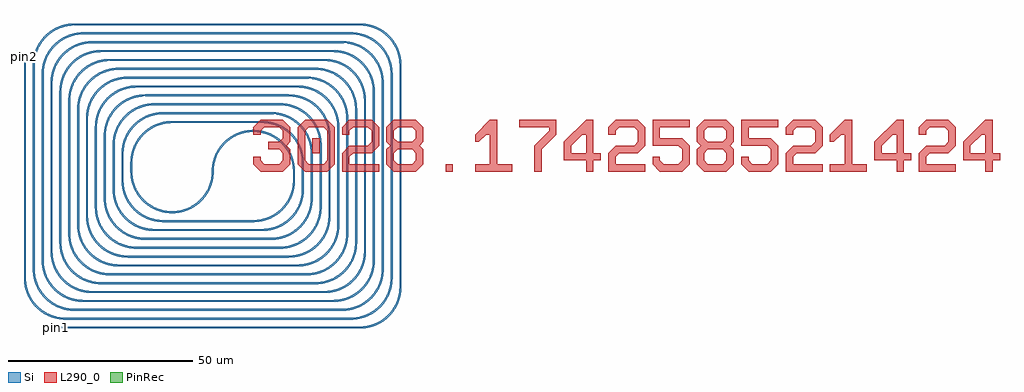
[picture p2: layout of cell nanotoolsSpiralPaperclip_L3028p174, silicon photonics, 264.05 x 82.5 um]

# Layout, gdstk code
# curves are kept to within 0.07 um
import gdstk
lib = gdstk.Library(unit=1e-6, precision=1e-09)
def R(c, l, rs):  # rectangles x0, y0, x1, y1
    for r in rs: c.add(gdstk.rectangle(r[:2], r[2:], *l))
def P(c, l, *ps):  # polygons
    for p in ps: c.add(gdstk.Polygon(p, *l))
Si = (1, 0)
PinRec = (1, 10)
L290_0 = (290, 0)

nanotoolsspiralpaperclip = lib.new_cell('nanotoolsSpiralPaperclip_L3028p174')
R(nanotoolsspiralpaperclip, Si, [(-53.2,-42.45,28.8,-41.95), (-50.8,-40.05,26.4,-39.55), (-48.4,-37.65,24,-37.15), (-46,-35.25,21.6,-34.75), (-43.6,-32.85,19.2,-32.35), (39.55,-31.2,40.05,28.8), (-41.2,-30.45,16.8,-29.95), (-62.05,-28.8,-61.55,31.2), (37.15,-28.8,37.65,26.4), (-38.8,-28.05,14.4,-27.55), (-59.65,-26.4,-59.15,28.8), (34.75,-26.4,35.25,24), (-36.4,-25.65,12,-25.15), (-57.25,-24,-56.75,26.4), (32.35,-24,32.85,21.6), (-34,-23.25,9.6,-22.75), (-54.85,-21.6,-54.35,24), (29.95,-21.6,30.45,19.2), (-31.6,-20.85,7.2,-20.35), (-52.45,-19.2,-51.95,21.6), (27.55,-19.2,28.05,16.8), (-29.2,-18.45,4.8,-17.95), (-50.05,-16.8,-49.55,19.2), (25.15,-16.8,25.65,14.4), (-26.8,-16.05,2.4,-15.55), (-47.65,-14.4,-47.15,16.8), (22.75,-14.4,23.25,12), (-24.4,-13.65,0,-13.15), (-45.25,-12,-44.75,14.4), (20.35,-12,20.85,9.6), (-42.85,-9.6,-42.35,12), (17.95,-9.6,18.45,7.2), (-40.45,-7.2,-39.95,9.6), (15.55,-7.2,16.05,4.8), (-38.05,-4.8,-37.55,7.2), (13.15,-4.8,13.65,2.4), (-35.65,-2.4,-35.15,4.8), (10.75,-2.4,11.25,0), (-33.25,0,-32.75,2.4), (-22,13.15,2.4,13.65), (-24.4,15.55,4.8,16.05), (-26.8,17.95,7.2,18.45), (-29.2,20.35,9.6,20.85), (-31.6,22.75,12,23.25), (-34,25.15,14.4,25.65), (-36.4,27.55,16.8,28.05), (-38.8,29.95,19.2,30.45), (-41.2,32.35,21.6,32.85), (-43.6,34.75,24,35.25), (-46,37.15,26.4,37.65), (-48.4,39.55,28.8,40.05)])
P(nanotoolsspiralpaperclip, Si, [(-11.25,0),(-11.197,1.094),(-11.037,2.178),(-10.773,3.241),(-10.407,4.274),(-9.942,5.265),(-9.382,6.207),(-8.734,7.09),(-8.003,7.906),(-7.196,8.647),(-6.321,9.306),(-5.386,9.877),(-4.274,10.407),(-3.241,10.773),(-2.178,11.037),(-1.094,11.197),(0,11.25),(0,10.75),(-1.176,10.686),(-2.337,10.493),(-3.471,10.174),(-4.563,9.734),(-6.148,8.818),(-7.555,7.648),(-8.743,6.255),(-9.62,4.799),(-10.087,3.718),(-10.464,2.465),(-10.686,1.176),(-10.75,0)],
  [(-22,-11.25),(-22,-10.75),(-20.824,-10.686),(-19.663,-10.493),(-18.529,-10.174),(-17.437,-9.734),(-15.852,-8.818),(-14.445,-7.648),(-13.257,-6.255),(-12.38,-4.799),(-11.913,-3.718),(-11.536,-2.465),(-11.314,-1.176),(-11.25,0),(-10.75,0),(-10.803,-1.094),(-10.963,-2.178),(-11.227,-3.241),(-11.593,-4.274),(-12.058,-5.265),(-12.618,-6.207),(-13.266,-7.09),(-13.997,-7.906),(-14.804,-8.647),(-15.679,-9.306),(-16.614,-9.877),(-17.726,-10.407),(-18.759,-10.773),(-19.822,-11.037),(-20.906,-11.197)],
  [(-22,-11.25),(-23.094,-11.197),(-24.178,-11.037),(-25.241,-10.773),(-26.274,-10.407),(-27.265,-9.942),(-28.207,-9.382),(-29.09,-8.734),(-29.906,-8.003),(-30.647,-7.196),(-31.306,-6.321),(-31.877,-5.386),(-32.407,-4.274),(-32.773,-3.241),(-33.037,-2.178),(-33.197,-1.094),(-33.25,0),(-32.75,0),(-32.686,-1.176),(-32.493,-2.337),(-32.174,-3.471),(-31.734,-4.563),(-30.818,-6.148),(-29.648,-7.555),(-28.255,-8.743),(-26.799,-9.62),(-25.718,-10.087),(-24.465,-10.464),(-23.176,-10.686),(-22,-10.75)],
  [(39.55,28.8),(39.499,29.846),(39.347,30.881),(38.793,32.762),(38.42,33.599),(37.837,34.622),(36.629,36.167),(35.266,37.388),(33.599,38.42),(32.518,38.887),(31.265,39.264),(29.976,39.486),(28.8,39.55),(28.8,40.05),(30.03,39.983),(31.112,39.81),(32.172,39.533),(33.2,39.154),(34.306,38.611),(35.234,38.029),(36.101,37.359),(36.899,36.608),(37.704,35.676),(38.403,34.661),(38.986,33.575),(39.447,32.432),(39.887,30.709),(40.047,29.074),(40.05,28.8)],
  [(10.75,0),(10.699,1.046),(10.547,2.081),(9.993,3.962),(9.62,4.799),(9.037,5.822),(7.829,7.367),(6.466,8.588),(4.799,9.62),(3.718,10.087),(2.465,10.464),(1.176,10.686),(0,10.75),(0,11.25),(1.23,11.183),(2.312,11.01),(3.372,10.733),(4.4,10.354),(5.506,9.811),(6.434,9.229),(7.301,8.559),(8.099,7.808),(8.904,6.876),(9.603,5.861),(10.186,4.775),(10.647,3.632),(11.087,1.909),(11.247,0.274),(11.25,0)],
  [(13.15,2.4),(13.099,3.446),(12.947,4.481),(12.393,6.362),(12.02,7.199),(11.437,8.222),(10.229,9.767),(8.866,10.988),(7.199,12.02),(6.118,12.487),(4.865,12.864),(3.576,13.086),(2.4,13.15),(2.4,13.65),(3.63,13.583),(4.712,13.41),(5.772,13.133),(6.8,12.754),(7.906,12.211),(8.834,11.629),(9.701,10.959),(10.499,10.208),(11.304,9.276),(12.003,8.261),(12.586,7.175),(13.047,6.032),(13.487,4.309),(13.647,2.674),(13.65,2.4)],
  [(15.55,4.8),(15.499,5.846),(15.347,6.881),(14.793,8.762),(14.42,9.599),(13.837,10.622),(12.629,12.167),(11.266,13.388),(9.599,14.42),(8.518,14.887),(7.265,15.264),(5.976,15.486),(4.8,15.55),(4.8,16.05),(6.03,15.983),(7.112,15.81),(8.172,15.533),(9.2,15.154),(10.306,14.611),(11.234,14.029),(12.101,13.359),(12.899,12.608),(13.704,11.676),(14.403,10.661),(14.986,9.575),(15.447,8.432),(15.887,6.709),(16.047,5.074),(16.05,4.8)],
  [(17.95,7.2),(17.899,8.246),(17.747,9.281),(17.193,11.162),(16.82,11.999),(16.237,13.022),(15.029,14.567),(13.666,15.788),(11.999,16.82),(10.918,17.287),(9.665,17.664),(8.376,17.886),(7.2,17.95),(7.2,18.45),(8.43,18.383),(9.512,18.21),(10.572,17.933),(11.6,17.554),(12.706,17.011),(13.634,16.429),(14.501,15.759),(15.299,15.008),(16.104,14.076),(16.803,13.061),(17.386,11.975),(17.847,10.832),(18.287,9.109),(18.447,7.474),(18.45,7.2)],
  [(20.35,9.6),(20.299,10.646),(20.147,11.681),(19.593,13.562),(19.22,14.399),(18.637,15.422),(17.429,16.967),(16.066,18.188),(14.399,19.22),(13.318,19.687),(12.065,20.064),(10.776,20.286),(9.6,20.35),(9.6,20.85),(10.83,20.783),(11.912,20.61),(12.972,20.333),(14,19.954),(15.106,19.411),(16.034,18.829),(16.901,18.159),(17.699,17.408),(18.504,16.476),(19.203,15.461),(19.786,14.375),(20.247,13.232),(20.687,11.509),(20.847,9.874),(20.85,9.6)],
  [(22.75,12),(22.699,13.046),(22.547,14.081),(21.993,15.962),(21.62,16.799),(21.037,17.822),(19.829,19.367),(18.466,20.588),(16.799,21.62),(15.718,22.087),(14.465,22.464),(13.176,22.686),(12,22.75),(12,23.25),(13.23,23.183),(14.312,23.01),(15.372,22.733),(16.4,22.354),(17.506,21.811),(18.434,21.229),(19.301,20.559),(20.099,19.808),(20.904,18.876),(21.603,17.861),(22.186,16.775),(22.647,15.632),(23.087,13.909),(23.247,12.274),(23.25,12)],
  [(25.15,14.4),(25.099,15.446),(24.947,16.481),(24.393,18.362),(24.02,19.199),(23.437,20.222),(22.229,21.767),(20.866,22.988),(19.199,24.02),(18.118,24.487),(16.865,24.864),(15.576,25.086),(14.4,25.15),(14.4,25.65),(15.63,25.583),(16.712,25.41),(17.772,25.133),(18.8,24.754),(19.906,24.211),(20.834,23.629),(21.701,22.959),(22.499,22.208),(23.304,21.276),(24.003,20.261),(24.586,19.175),(25.047,18.032),(25.487,16.309),(25.647,14.674),(25.65,14.4)],
  [(27.55,16.8),(27.499,17.846),(27.347,18.881),(26.793,20.762),(26.42,21.599),(25.837,22.622),(24.629,24.167),(23.266,25.388),(21.599,26.42),(20.518,26.887),(19.265,27.264),(17.976,27.486),(16.8,27.55),(16.8,28.05),(18.03,27.983),(19.112,27.81),(20.172,27.533),(21.2,27.154),(22.306,26.611),(23.234,26.029),(24.101,25.359),(24.899,24.608),(25.704,23.676),(26.403,22.661),(26.986,21.575),(27.447,20.432),(27.887,18.709),(28.047,17.074),(28.05,16.8)],
  [(29.95,19.2),(29.899,20.246),(29.747,21.281),(29.193,23.162),(28.82,23.999),(28.237,25.022),(27.029,26.567),(25.666,27.788),(23.999,28.82),(22.918,29.287),(21.665,29.664),(20.376,29.886),(19.2,29.95),(19.2,30.45),(20.43,30.383),(21.512,30.21),(22.572,29.933),(23.6,29.554),(24.706,29.011),(25.634,28.429),(26.501,27.759),(27.299,27.008),(28.104,26.076),(28.803,25.061),(29.386,23.975),(29.847,22.832),(30.287,21.109),(30.447,19.474),(30.45,19.2)],
  [(32.35,21.6),(32.299,22.646),(32.147,23.681),(31.593,25.562),(31.22,26.399),(30.637,27.422),(29.429,28.967),(28.066,30.188),(26.399,31.22),(25.318,31.687),(24.065,32.064),(22.776,32.286),(21.6,32.35),(21.6,32.85),(22.83,32.783),(23.912,32.61),(24.972,32.333),(26,31.954),(27.106,31.411),(28.034,30.829),(28.901,30.159),(29.699,29.408),(30.504,28.476),(31.203,27.461),(31.786,26.375),(32.247,25.232),(32.687,23.509),(32.847,21.874),(32.85,21.6)],
  [(34.75,24),(34.699,25.046),(34.547,26.081),(33.993,27.962),(33.62,28.799),(33.037,29.822),(31.829,31.367),(30.466,32.588),(28.799,33.62),(27.718,34.087),(26.465,34.464),(25.176,34.686),(24,34.75),(24,35.25),(25.23,35.183),(26.312,35.01),(27.372,34.733),(28.4,34.354),(29.506,33.811),(30.434,33.229),(31.301,32.559),(32.099,31.808),(32.904,30.876),(33.603,29.861),(34.186,28.775),(34.647,27.632),(35.087,25.909),(35.247,24.274),(35.25,24)],
  [(37.15,26.4),(37.099,27.446),(36.947,28.481),(36.393,30.362),(36.02,31.199),(35.437,32.222),(34.229,33.767),(32.866,34.988),(31.199,36.02),(30.118,36.487),(28.865,36.864),(27.576,37.086),(26.4,37.15),(26.4,37.65),(27.63,37.583),(28.712,37.41),(29.772,37.133),(30.8,36.754),(31.906,36.211),(32.834,35.629),(33.701,34.959),(34.499,34.208),(35.304,33.276),(36.003,32.261),(36.586,31.175),(37.047,30.032),(37.487,28.309),(37.647,26.674),(37.65,26.4)],
  [(-35.65,4.8),(-35.597,5.894),(-35.437,6.978),(-35.173,8.041),(-34.807,9.074),(-34.342,10.065),(-33.782,11.007),(-33.134,11.89),(-32.403,12.706),(-31.596,13.447),(-30.721,14.106),(-29.786,14.677),(-28.674,15.207),(-27.641,15.573),(-26.578,15.837),(-25.494,15.997),(-24.4,16.05),(-24.4,15.55),(-25.576,15.486),(-26.737,15.293),(-27.871,14.974),(-28.963,14.534),(-30.548,13.618),(-31.955,12.448),(-33.143,11.055),(-34.02,9.599),(-34.487,8.518),(-34.864,7.265),(-35.086,5.976),(-35.15,4.8)],
  [(-38.05,7.2),(-37.997,8.294),(-37.837,9.378),(-37.573,10.441),(-37.207,11.474),(-36.742,12.465),(-36.182,13.407),(-35.534,14.29),(-34.803,15.106),(-33.996,15.847),(-33.121,16.506),(-32.186,17.077),(-31.074,17.607),(-30.041,17.973),(-28.978,18.237),(-27.894,18.397),(-26.8,18.45),(-26.8,17.95),(-27.976,17.886),(-29.137,17.693),(-30.271,17.374),(-31.363,16.934),(-32.948,16.018),(-34.355,14.848),(-35.543,13.455),(-36.42,11.999),(-36.887,10.918),(-37.264,9.665),(-37.486,8.376),(-37.55,7.2)],
  [(-40.45,9.6),(-40.397,10.694),(-40.237,11.778),(-39.973,12.841),(-39.607,13.874),(-39.142,14.865),(-38.582,15.807),(-37.934,16.69),(-37.203,17.506),(-36.396,18.247),(-35.521,18.906),(-34.586,19.477),(-33.474,20.007),(-32.441,20.373),(-31.378,20.637),(-30.294,20.797),(-29.2,20.85),(-29.2,20.35),(-30.376,20.286),(-31.537,20.093),(-32.671,19.774),(-33.763,19.334),(-35.348,18.418),(-36.755,17.248),(-37.943,15.855),(-38.82,14.399),(-39.287,13.318),(-39.664,12.065),(-39.886,10.776),(-39.95,9.6)],
  [(-42.85,12),(-42.797,13.094),(-42.637,14.178),(-42.373,15.241),(-42.007,16.274),(-41.542,17.265),(-40.982,18.207),(-40.334,19.09),(-39.603,19.906),(-38.796,20.647),(-37.921,21.306),(-36.986,21.877),(-35.874,22.407),(-34.841,22.773),(-33.778,23.037),(-32.694,23.197),(-31.6,23.25),(-31.6,22.75),(-32.776,22.686),(-33.937,22.493),(-35.071,22.174),(-36.163,21.734),(-37.748,20.818),(-39.155,19.648),(-40.343,18.255),(-41.22,16.799),(-41.687,15.718),(-42.064,14.465),(-42.286,13.176),(-42.35,12)],
  [(-45.25,14.4),(-45.197,15.494),(-45.037,16.578),(-44.773,17.641),(-44.407,18.674),(-43.942,19.665),(-43.382,20.607),(-42.734,21.49),(-42.003,22.306),(-41.196,23.047),(-40.321,23.706),(-39.386,24.277),(-38.274,24.807),(-37.241,25.173),(-36.178,25.437),(-35.094,25.597),(-34,25.65),(-34,25.15),(-35.176,25.086),(-36.337,24.893),(-37.471,24.574),(-38.563,24.134),(-40.148,23.218),(-41.555,22.048),(-42.743,20.655),(-43.62,19.199),(-44.087,18.118),(-44.464,16.865),(-44.686,15.576),(-44.75,14.4)],
  [(-47.65,16.8),(-47.597,17.894),(-47.437,18.978),(-47.173,20.041),(-46.807,21.074),(-46.342,22.065),(-45.782,23.007),(-45.134,23.89),(-44.403,24.706),(-43.596,25.447),(-42.721,26.106),(-41.786,26.677),(-40.674,27.207),(-39.641,27.573),(-38.578,27.837),(-37.494,27.997),(-36.4,28.05),(-36.4,27.55),(-37.576,27.486),(-38.737,27.293),(-39.871,26.974),(-40.963,26.534),(-42.548,25.618),(-43.955,24.448),(-45.143,23.055),(-46.02,21.599),(-46.487,20.518),(-46.864,19.265),(-47.086,17.976),(-47.15,16.8)],
  [(-50.05,19.2),(-49.997,20.294),(-49.837,21.378),(-49.573,22.441),(-49.207,23.474),(-48.742,24.465),(-48.182,25.407),(-47.534,26.29),(-46.803,27.106),(-45.996,27.847),(-45.121,28.506),(-44.186,29.077),(-43.074,29.607),(-42.041,29.973),(-40.978,30.237),(-39.894,30.397),(-38.8,30.45),(-38.8,29.95),(-39.976,29.886),(-41.137,29.693),(-42.271,29.374),(-43.363,28.934),(-44.948,28.018),(-46.355,26.848),(-47.543,25.455),(-48.42,23.999),(-48.887,22.918),(-49.264,21.665),(-49.486,20.376),(-49.55,19.2)],
  [(-52.45,21.6),(-52.397,22.694),(-52.237,23.778),(-51.973,24.841),(-51.607,25.874),(-51.142,26.865),(-50.582,27.807),(-49.934,28.69),(-49.203,29.506),(-48.396,30.247),(-47.521,30.906),(-46.586,31.477),(-45.474,32.007),(-44.441,32.373),(-43.378,32.637),(-42.294,32.797),(-41.2,32.85),(-41.2,32.35),(-42.376,32.286),(-43.537,32.093),(-44.671,31.774),(-45.763,31.334),(-47.348,30.418),(-48.755,29.248),(-49.943,27.855),(-50.82,26.399),(-51.287,25.318),(-51.664,24.065),(-51.886,22.776),(-51.95,21.6)],
  [(-54.85,24),(-54.797,25.094),(-54.637,26.178),(-54.373,27.241),(-54.007,28.274),(-53.542,29.265),(-52.982,30.207),(-52.334,31.09),(-51.603,31.906),(-50.796,32.647),(-49.921,33.306),(-48.986,33.877),(-47.874,34.407),(-46.841,34.773),(-45.778,35.037),(-44.694,35.197),(-43.6,35.25),(-43.6,34.75),(-44.776,34.686),(-45.937,34.493),(-47.071,34.174),(-48.163,33.734),(-49.748,32.818),(-51.155,31.648),(-52.343,30.255),(-53.22,28.799),(-53.687,27.718),(-54.064,26.465),(-54.286,25.176),(-54.35,24)],
  [(-57.25,26.4),(-57.197,27.494),(-57.037,28.578),(-56.773,29.641),(-56.407,30.674),(-55.942,31.665),(-55.382,32.607),(-54.734,33.49),(-54.003,34.306),(-53.196,35.047),(-52.321,35.706),(-51.386,36.277),(-50.274,36.807),(-49.241,37.173),(-48.178,37.437),(-47.094,37.597),(-46,37.65),(-46,37.15),(-47.176,37.086),(-48.337,36.893),(-49.471,36.574),(-50.563,36.134),(-52.148,35.218),(-53.555,34.048),(-54.743,32.655),(-55.62,31.199),(-56.087,30.118),(-56.464,28.865),(-56.686,27.576),(-56.75,26.4)],
  [(-59.65,28.8),(-59.597,29.894),(-59.437,30.978),(-59.173,32.041),(-58.807,33.074),(-58.342,34.065),(-57.782,35.007),(-57.134,35.89),(-56.403,36.706),(-55.596,37.447),(-54.721,38.106),(-53.786,38.677),(-52.674,39.207),(-51.641,39.573),(-50.578,39.837),(-49.494,39.997),(-48.4,40.05),(-48.4,39.55),(-49.576,39.486),(-50.737,39.293),(-51.871,38.974),(-52.963,38.534),(-54.548,37.618),(-55.955,36.448),(-57.143,35.055),(-58.02,33.599),(-58.487,32.518),(-58.864,31.265),(-59.086,29.976),(-59.15,28.8)],
  [(-33.25,2.4),(-33.197,3.494),(-33.037,4.578),(-32.773,5.641),(-32.407,6.674),(-31.942,7.665),(-31.382,8.607),(-30.734,9.49),(-30.003,10.306),(-29.196,11.047),(-28.321,11.706),(-27.386,12.277),(-26.274,12.807),(-25.241,13.173),(-24.178,13.437),(-23.094,13.597),(-22,13.65),(-22,13.15),(-23.176,13.086),(-24.337,12.893),(-25.471,12.574),(-26.563,12.134),(-28.148,11.218),(-29.555,10.048),(-30.743,8.655),(-31.62,7.199),(-32.087,6.118),(-32.464,4.865),(-32.686,3.576),(-32.75,2.4)],
  [(-31.6,-20.85),(-32.694,-20.797),(-33.778,-20.637),(-34.841,-20.373),(-35.874,-20.007),(-36.865,-19.542),(-37.807,-18.982),(-38.69,-18.334),(-39.506,-17.603),(-40.247,-16.796),(-40.906,-15.921),(-41.477,-14.986),(-42.007,-13.874),(-42.373,-12.841),(-42.637,-11.778),(-42.797,-10.694),(-42.85,-9.6),(-42.35,-9.6),(-42.286,-10.776),(-42.093,-11.937),(-41.774,-13.071),(-41.334,-14.163),(-40.418,-15.748),(-39.248,-17.155),(-37.855,-18.343),(-36.399,-19.22),(-35.318,-19.687),(-34.065,-20.064),(-32.776,-20.286),(-31.6,-20.35)],
  [(-34,-23.25),(-35.094,-23.197),(-36.178,-23.037),(-37.241,-22.773),(-38.274,-22.407),(-39.265,-21.942),(-40.207,-21.382),(-41.09,-20.734),(-41.906,-20.003),(-42.647,-19.196),(-43.306,-18.321),(-43.877,-17.386),(-44.407,-16.274),(-44.773,-15.241),(-45.037,-14.178),(-45.197,-13.094),(-45.25,-12),(-44.75,-12),(-44.686,-13.176),(-44.493,-14.337),(-44.174,-15.471),(-43.734,-16.563),(-42.818,-18.148),(-41.648,-19.555),(-40.255,-20.743),(-38.799,-21.62),(-37.718,-22.087),(-36.465,-22.464),(-35.176,-22.686),(-34,-22.75)],
  [(-36.4,-25.65),(-37.494,-25.597),(-38.578,-25.437),(-39.641,-25.173),(-40.674,-24.807),(-41.665,-24.342),(-42.607,-23.782),(-43.49,-23.134),(-44.306,-22.403),(-45.047,-21.596),(-45.706,-20.721),(-46.277,-19.786),(-46.807,-18.674),(-47.173,-17.641),(-47.437,-16.578),(-47.597,-15.494),(-47.65,-14.4),(-47.15,-14.4),(-47.086,-15.576),(-46.893,-16.737),(-46.574,-17.871),(-46.134,-18.963),(-45.218,-20.548),(-44.048,-21.955),(-42.655,-23.143),(-41.199,-24.02),(-40.118,-24.487),(-38.865,-24.864),(-37.576,-25.086),(-36.4,-25.15)],
  [(-38.8,-28.05),(-39.894,-27.997),(-40.978,-27.837),(-42.041,-27.573),(-43.074,-27.207),(-44.065,-26.742),(-45.007,-26.182),(-45.89,-25.534),(-46.706,-24.803),(-47.447,-23.996),(-48.106,-23.121),(-48.677,-22.186),(-49.207,-21.074),(-49.573,-20.041),(-49.837,-18.978),(-49.997,-17.894),(-50.05,-16.8),(-49.55,-16.8),(-49.486,-17.976),(-49.293,-19.137),(-48.974,-20.271),(-48.534,-21.363),(-47.618,-22.948),(-46.448,-24.355),(-45.055,-25.543),(-43.599,-26.42),(-42.518,-26.887),(-41.265,-27.264),(-39.976,-27.486),(-38.8,-27.55)],
  [(-41.2,-30.45),(-42.294,-30.397),(-43.378,-30.237),(-44.441,-29.973),(-45.474,-29.607),(-46.465,-29.142),(-47.407,-28.582),(-48.29,-27.934),(-49.106,-27.203),(-49.847,-26.396),(-50.506,-25.521),(-51.077,-24.586),(-51.607,-23.474),(-51.973,-22.441),(-52.237,-21.378),(-52.397,-20.294),(-52.45,-19.2),(-51.95,-19.2),(-51.886,-20.376),(-51.693,-21.537),(-51.374,-22.671),(-50.934,-23.763),(-50.018,-25.348),(-48.848,-26.755),(-47.455,-27.943),(-45.999,-28.82),(-44.918,-29.287),(-43.665,-29.664),(-42.376,-29.886),(-41.2,-29.95)],
  [(-43.6,-32.85),(-44.694,-32.797),(-45.778,-32.637),(-46.841,-32.373),(-47.874,-32.007),(-48.865,-31.542),(-49.807,-30.982),(-50.69,-30.334),(-51.506,-29.603),(-52.247,-28.796),(-52.906,-27.921),(-53.477,-26.986),(-54.007,-25.874),(-54.373,-24.841),(-54.637,-23.778),(-54.797,-22.694),(-54.85,-21.6),(-54.35,-21.6),(-54.286,-22.776),(-54.093,-23.937),(-53.774,-25.071),(-53.334,-26.163),(-52.418,-27.748),(-51.248,-29.155),(-49.855,-30.343),(-48.399,-31.22),(-47.318,-31.687),(-46.065,-32.064),(-44.776,-32.286),(-43.6,-32.35)],
  [(-46,-35.25),(-47.094,-35.197),(-48.178,-35.037),(-49.241,-34.773),(-50.274,-34.407),(-51.265,-33.942),(-52.207,-33.382),(-53.09,-32.734),(-53.906,-32.003),(-54.647,-31.196),(-55.306,-30.321),(-55.877,-29.386),(-56.407,-28.274),(-56.773,-27.241),(-57.037,-26.178),(-57.197,-25.094),(-57.25,-24),(-56.75,-24),(-56.686,-25.176),(-56.493,-26.337),(-56.174,-27.471),(-55.734,-28.563),(-54.818,-30.148),(-53.648,-31.555),(-52.255,-32.743),(-50.799,-33.62),(-49.718,-34.087),(-48.465,-34.464),(-47.176,-34.686),(-46,-34.75)],
  [(-48.4,-37.65),(-49.494,-37.597),(-50.578,-37.437),(-51.641,-37.173),(-52.674,-36.807),(-53.665,-36.342),(-54.607,-35.782),(-55.49,-35.134),(-56.306,-34.403),(-57.047,-33.596),(-57.706,-32.721),(-58.277,-31.786),(-58.807,-30.674),(-59.173,-29.641),(-59.437,-28.578),(-59.597,-27.494),(-59.65,-26.4),(-59.15,-26.4),(-59.086,-27.576),(-58.893,-28.737),(-58.574,-29.871),(-58.134,-30.963),(-57.218,-32.548),(-56.048,-33.955),(-54.655,-35.143),(-53.199,-36.02),(-52.118,-36.487),(-50.865,-36.864),(-49.576,-37.086),(-48.4,-37.15)],
  [(-50.8,-40.05),(-51.894,-39.997),(-52.978,-39.837),(-54.041,-39.573),(-55.074,-39.207),(-56.065,-38.742),(-57.007,-38.182),(-57.89,-37.534),(-58.706,-36.803),(-59.447,-35.996),(-60.106,-35.121),(-60.677,-34.186),(-61.207,-33.074),(-61.573,-32.041),(-61.837,-30.978),(-61.997,-29.894),(-62.05,-28.8),(-61.55,-28.8),(-61.486,-29.976),(-61.293,-31.137),(-60.974,-32.271),(-60.534,-33.363),(-59.618,-34.948),(-58.448,-36.355),(-57.055,-37.543),(-55.599,-38.42),(-54.518,-38.887),(-53.265,-39.264),(-51.976,-39.486),(-50.8,-39.55)],
  [(-24.4,-13.65),(-25.494,-13.597),(-26.578,-13.437),(-27.641,-13.173),(-28.674,-12.807),(-29.665,-12.342),(-30.607,-11.782),(-31.49,-11.134),(-32.306,-10.403),(-33.047,-9.596),(-33.706,-8.721),(-34.277,-7.786),(-34.807,-6.674),(-35.173,-5.641),(-35.437,-4.578),(-35.597,-3.494),(-35.65,-2.4),(-35.15,-2.4),(-35.086,-3.576),(-34.893,-4.737),(-34.574,-5.871),(-34.134,-6.963),(-33.218,-8.548),(-32.048,-9.955),(-30.655,-11.143),(-29.199,-12.02),(-28.118,-12.487),(-26.865,-12.864),(-25.576,-13.086),(-24.4,-13.15)],
  [(-26.8,-16.05),(-27.894,-15.997),(-28.978,-15.837),(-30.041,-15.573),(-31.074,-15.207),(-32.065,-14.742),(-33.007,-14.182),(-33.89,-13.534),(-34.706,-12.803),(-35.447,-11.996),(-36.106,-11.121),(-36.677,-10.186),(-37.207,-9.074),(-37.573,-8.041),(-37.837,-6.978),(-37.997,-5.894),(-38.05,-4.8),(-37.55,-4.8),(-37.486,-5.976),(-37.293,-7.137),(-36.974,-8.271),(-36.534,-9.363),(-35.618,-10.948),(-34.448,-12.355),(-33.055,-13.543),(-31.599,-14.42),(-30.518,-14.887),(-29.265,-15.264),(-27.976,-15.486),(-26.8,-15.55)],
  [(-29.2,-18.45),(-30.294,-18.397),(-31.378,-18.237),(-32.441,-17.973),(-33.474,-17.607),(-34.465,-17.142),(-35.407,-16.582),(-36.29,-15.934),(-37.106,-15.203),(-37.847,-14.396),(-38.506,-13.521),(-39.077,-12.586),(-39.607,-11.474),(-39.973,-10.441),(-40.237,-9.378),(-40.397,-8.294),(-40.45,-7.2),(-39.95,-7.2),(-39.886,-8.376),(-39.693,-9.537),(-39.374,-10.671),(-38.934,-11.763),(-38.018,-13.348),(-36.848,-14.755),(-35.455,-15.943),(-33.999,-16.82),(-32.918,-17.287),(-31.665,-17.664),(-30.376,-17.886),(-29.2,-17.95)],
  [(26.4,-40.05),(26.4,-39.55),(27.576,-39.486),(28.737,-39.293),(29.871,-38.974),(30.963,-38.534),(32.548,-37.618),(33.955,-36.448),(35.143,-35.055),(36.02,-33.599),(36.487,-32.518),(36.864,-31.265),(37.086,-29.976),(37.15,-28.8),(37.65,-28.8),(37.597,-29.894),(37.437,-30.978),(37.173,-32.041),(36.807,-33.074),(36.342,-34.065),(35.782,-35.007),(35.134,-35.89),(34.403,-36.706),(33.596,-37.447),(32.721,-38.106),(31.786,-38.677),(30.674,-39.207),(29.641,-39.573),(28.578,-39.837),(27.494,-39.997)],
  [(28.8,-42.45),(28.8,-41.95),(29.976,-41.886),(31.137,-41.693),(32.271,-41.374),(33.363,-40.934),(34.948,-40.018),(36.355,-38.848),(37.543,-37.455),(38.42,-35.999),(38.887,-34.918),(39.264,-33.665),(39.486,-32.376),(39.55,-31.2),(40.05,-31.2),(39.997,-32.294),(39.837,-33.378),(39.573,-34.441),(39.207,-35.474),(38.742,-36.465),(38.182,-37.407),(37.534,-38.29),(36.803,-39.106),(35.996,-39.847),(35.121,-40.506),(34.186,-41.077),(33.074,-41.607),(32.041,-41.973),(30.978,-42.237),(29.894,-42.397)],
  [(0,-13.65),(0,-13.15),(1.176,-13.086),(2.337,-12.893),(3.471,-12.574),(4.563,-12.134),(6.148,-11.218),(7.555,-10.048),(8.743,-8.655),(9.62,-7.199),(10.087,-6.118),(10.464,-4.865),(10.686,-3.576),(10.75,-2.4),(11.25,-2.4),(11.197,-3.494),(11.037,-4.578),(10.773,-5.641),(10.407,-6.674),(9.942,-7.665),(9.382,-8.607),(8.734,-9.49),(8.003,-10.306),(7.196,-11.047),(6.321,-11.706),(5.386,-12.277),(4.274,-12.807),(3.241,-13.173),(2.178,-13.437),(1.094,-13.597)],
  [(2.4,-16.05),(2.4,-15.55),(3.576,-15.486),(4.737,-15.293),(5.871,-14.974),(6.963,-14.534),(8.548,-13.618),(9.955,-12.448),(11.143,-11.055),(12.02,-9.599),(12.487,-8.518),(12.864,-7.265),(13.086,-5.976),(13.15,-4.8),(13.65,-4.8),(13.597,-5.894),(13.437,-6.978),(13.173,-8.041),(12.807,-9.074),(12.342,-10.065),(11.782,-11.007),(11.134,-11.89),(10.403,-12.706),(9.596,-13.447),(8.721,-14.106),(7.786,-14.677),(6.674,-15.207),(5.641,-15.573),(4.578,-15.837),(3.494,-15.997)],
  [(4.8,-18.45),(4.8,-17.95),(5.976,-17.886),(7.137,-17.693),(8.271,-17.374),(9.363,-16.934),(10.948,-16.018),(12.355,-14.848),(13.543,-13.455),(14.42,-11.999),(14.887,-10.918),(15.264,-9.665),(15.486,-8.376),(15.55,-7.2),(16.05,-7.2),(15.997,-8.294),(15.837,-9.378),(15.573,-10.441),(15.207,-11.474),(14.742,-12.465),(14.182,-13.407),(13.534,-14.29),(12.803,-15.106),(11.996,-15.847),(11.121,-16.506),(10.186,-17.077),(9.074,-17.607),(8.041,-17.973),(6.978,-18.237),(5.894,-18.397)],
  [(7.2,-20.85),(7.2,-20.35),(8.376,-20.286),(9.537,-20.093),(10.671,-19.774),(11.763,-19.334),(13.348,-18.418),(14.755,-17.248),(15.943,-15.855),(16.82,-14.399),(17.287,-13.318),(17.664,-12.065),(17.886,-10.776),(17.95,-9.6),(18.45,-9.6),(18.397,-10.694),(18.237,-11.778),(17.973,-12.841),(17.607,-13.874),(17.142,-14.865),(16.582,-15.807),(15.934,-16.69),(15.203,-17.506),(14.396,-18.247),(13.521,-18.906),(12.586,-19.477),(11.474,-20.007),(10.441,-20.373),(9.378,-20.637),(8.294,-20.797)],
  [(9.6,-23.25),(9.6,-22.75),(10.776,-22.686),(11.937,-22.493),(13.071,-22.174),(14.163,-21.734),(15.748,-20.818),(17.155,-19.648),(18.343,-18.255),(19.22,-16.799),(19.687,-15.718),(20.064,-14.465),(20.286,-13.176),(20.35,-12),(20.85,-12),(20.797,-13.094),(20.637,-14.178),(20.373,-15.241),(20.007,-16.274),(19.542,-17.265),(18.982,-18.207),(18.334,-19.09),(17.603,-19.906),(16.796,-20.647),(15.921,-21.306),(14.986,-21.877),(13.874,-22.407),(12.841,-22.773),(11.778,-23.037),(10.694,-23.197)],
  [(12,-25.65),(12,-25.15),(13.176,-25.086),(14.337,-24.893),(15.471,-24.574),(16.563,-24.134),(18.148,-23.218),(19.555,-22.048),(20.743,-20.655),(21.62,-19.199),(22.087,-18.118),(22.464,-16.865),(22.686,-15.576),(22.75,-14.4),(23.25,-14.4),(23.197,-15.494),(23.037,-16.578),(22.773,-17.641),(22.407,-18.674),(21.942,-19.665),(21.382,-20.607),(20.734,-21.49),(20.003,-22.306),(19.196,-23.047),(18.321,-23.706),(17.386,-24.277),(16.274,-24.807),(15.241,-25.173),(14.178,-25.437),(13.094,-25.597)],
  [(14.4,-28.05),(14.4,-27.55),(15.576,-27.486),(16.737,-27.293),(17.871,-26.974),(18.963,-26.534),(20.548,-25.618),(21.955,-24.448),(23.143,-23.055),(24.02,-21.599),(24.487,-20.518),(24.864,-19.265),(25.086,-17.976),(25.15,-16.8),(25.65,-16.8),(25.597,-17.894),(25.437,-18.978),(25.173,-20.041),(24.807,-21.074),(24.342,-22.065),(23.782,-23.007),(23.134,-23.89),(22.403,-24.706),(21.596,-25.447),(20.721,-26.106),(19.786,-26.677),(18.674,-27.207),(17.641,-27.573),(16.578,-27.837),(15.494,-27.997)],
  [(16.8,-30.45),(16.8,-29.95),(17.976,-29.886),(19.137,-29.693),(20.271,-29.374),(21.363,-28.934),(22.948,-28.018),(24.355,-26.848),(25.543,-25.455),(26.42,-23.999),(26.887,-22.918),(27.264,-21.665),(27.486,-20.376),(27.55,-19.2),(28.05,-19.2),(27.997,-20.294),(27.837,-21.378),(27.573,-22.441),(27.207,-23.474),(26.742,-24.465),(26.182,-25.407),(25.534,-26.29),(24.803,-27.106),(23.996,-27.847),(23.121,-28.506),(22.186,-29.077),(21.074,-29.607),(20.041,-29.973),(18.978,-30.237),(17.894,-30.397)],
  [(19.2,-32.85),(19.2,-32.35),(20.376,-32.286),(21.537,-32.093),(22.671,-31.774),(23.763,-31.334),(25.348,-30.418),(26.755,-29.248),(27.943,-27.855),(28.82,-26.399),(29.287,-25.318),(29.664,-24.065),(29.886,-22.776),(29.95,-21.6),(30.45,-21.6),(30.397,-22.694),(30.237,-23.778),(29.973,-24.841),(29.607,-25.874),(29.142,-26.865),(28.582,-27.807),(27.934,-28.69),(27.203,-29.506),(26.396,-30.247),(25.521,-30.906),(24.586,-31.477),(23.474,-32.007),(22.441,-32.373),(21.378,-32.637),(20.294,-32.797)],
  [(21.6,-35.25),(21.6,-34.75),(22.776,-34.686),(23.937,-34.493),(25.071,-34.174),(26.163,-33.734),(27.748,-32.818),(29.155,-31.648),(30.343,-30.255),(31.22,-28.799),(31.687,-27.718),(32.064,-26.465),(32.286,-25.176),(32.35,-24),(32.85,-24),(32.797,-25.094),(32.637,-26.178),(32.373,-27.241),(32.007,-28.274),(31.542,-29.265),(30.982,-30.207),(30.334,-31.09),(29.603,-31.906),(28.796,-32.647),(27.921,-33.306),(26.986,-33.877),(25.874,-34.407),(24.841,-34.773),(23.778,-35.037),(22.694,-35.197)],
  [(24,-37.65),(24,-37.15),(25.176,-37.086),(26.337,-36.893),(27.471,-36.574),(28.563,-36.134),(30.148,-35.218),(31.555,-34.048),(32.743,-32.655),(33.62,-31.199),(34.087,-30.118),(34.464,-28.865),(34.686,-27.576),(34.75,-26.4),(35.25,-26.4),(35.197,-27.494),(35.037,-28.578),(34.773,-29.641),(34.407,-30.674),(33.942,-31.665),(33.382,-32.607),(32.734,-33.49),(32.003,-34.306),(31.196,-35.047),(30.321,-35.706),(29.386,-36.277),(28.274,-36.807),(27.241,-37.173),(26.178,-37.437),(25.094,-37.597)])
R(nanotoolsspiralpaperclip, L290_0, [(52,0,54,2), (16,5,18,9)])
P(nanotoolsspiralpaperclip, L290_0, [(2,0),(0,2),(0,4),(2,4),(2,3),(3,2),(7,2),(8,3),(8,5),(7,6),(4,6),(4,8),(7,8),(8,9),(8,11),(7,12),(3,12),(2,11),(2,10),(0,10),(0,12),(2,14),(8,14),(10,12),(10,8),(9,7),(10,6),(10,2),(8,0)],
  [(14,0),(12,2),(12,12),(14,14),(20,14),(22,12),(15,12),(14,11),(14,3),(15,2),(19,2),(20,3),(20,11),(19,12),(22,12),(22,2),(20,0)],
  [(24,0),(24,5),(26,7),(31,7),(32,8),(32,11),(31,12),(27,12),(26,11),(26,10),(24,10),(24,12),(26,14),(32,14),(34,12),(34,7),(32,5),(27,5),(26,4),(26,2),(34,2),(34,0)],
  [(38,0),(36,2),(36,6),(37,7),(36,8),(36,12),(38,14),(44,14),(46,12),(39,12),(38,11),(38,9),(39,8),(43,8),(44,9),(44,11),(43,12),(46,12),(46,8),(45,7),(46,6),(39,6),(38,5),(38,3),(39,2),(43,2),(44,3),(44,5),(43,6),(46,6),(46,2),(44,0)],
  [(60,0),(60,2),(64,2),(64,10),(63,10),(61,8),(60,8),(60,10),(64,14),(66,14),(66,2),(70,2),(70,0)],
  [(76,0),(76,7),(80,11),(80,12),(72,12),(72,14),(82,14),(82,10),(78,6),(78,0)],
  [(90,0),(90,3),(84,3),(84,5),(90,5),(90,10),(89,10),(86,7),(86,5),(84,5),(84,8),(90,14),(92,14),(92,5),(94,5),(94,3),(92,3),(92,0)],
  [(96,0),(96,5),(98,7),(103,7),(104,8),(104,11),(103,12),(99,12),(98,11),(98,10),(96,10),(96,12),(98,14),(104,14),(106,12),(106,7),(104,5),(99,5),(98,4),(98,2),(106,2),(106,0)],
  [(110,0),(108,2),(108,4),(110,4),(110,3),(111,2),(115,2),(116,3),(116,6),(115,7),(108,7),(108,14),(118,14),(118,12),(110,12),(110,9),(116,9),(118,7),(118,2),(116,0)],
  [(122,0),(120,2),(120,6),(121,7),(120,8),(120,12),(122,14),(128,14),(130,12),(123,12),(122,11),(122,9),(123,8),(127,8),(128,9),(128,11),(127,12),(130,12),(130,8),(129,7),(130,6),(123,6),(122,5),(122,3),(123,2),(127,2),(128,3),(128,5),(127,6),(130,6),(130,2),(128,0)],
  [(134,0),(132,2),(132,4),(134,4),(134,3),(135,2),(139,2),(140,3),(140,6),(139,7),(132,7),(132,14),(142,14),(142,12),(134,12),(134,9),(140,9),(142,7),(142,2),(140,0)],
  [(144,0),(144,5),(146,7),(151,7),(152,8),(152,11),(151,12),(147,12),(146,11),(146,10),(144,10),(144,12),(146,14),(152,14),(154,12),(154,7),(152,5),(147,5),(146,4),(146,2),(154,2),(154,0)],
  [(156,0),(156,2),(160,2),(160,10),(159,10),(157,8),(156,8),(156,10),(160,14),(162,14),(162,2),(166,2),(166,0)],
  [(174,0),(174,3),(168,3),(168,5),(174,5),(174,10),(173,10),(170,7),(170,5),(168,5),(168,8),(174,14),(176,14),(176,5),(178,5),(178,3),(176,3),(176,0)],
  [(180,0),(180,5),(182,7),(187,7),(188,8),(188,11),(187,12),(183,12),(182,11),(182,10),(180,10),(180,12),(182,14),(188,14),(190,12),(190,7),(188,5),(183,5),(182,4),(182,2),(190,2),(190,0)],
  [(198,0),(198,3),(192,3),(192,5),(198,5),(198,10),(197,10),(194,7),(194,5),(192,5),(192,8),(198,14),(200,14),(200,5),(202,5),(202,3),(200,3),(200,0)])
nanotoolsspiralpaperclip.add(gdstk.FlexPath([(-53.15,-42.2),(-53.25,-42.2)], 0.5, ends="flush", simple_path=True, layer=1, datatype=10))  # PinRec
nanotoolsspiralpaperclip.add(gdstk.FlexPath([(-61.8,31.15),(-61.8,31.25)], 0.5, ends="flush", simple_path=True, layer=1, datatype=10))  # PinRec
nanotoolsspiralpaperclip.add(gdstk.Label('pin1', (-53.2,-42.2), layer=1, texttype=10))
nanotoolsspiralpaperclip.add(gdstk.Label('pin2', (-61.8,31.2), layer=1, texttype=10))

lib.write_gds('nanotoolsSpiralPaperclip_L3028p174.gds')
